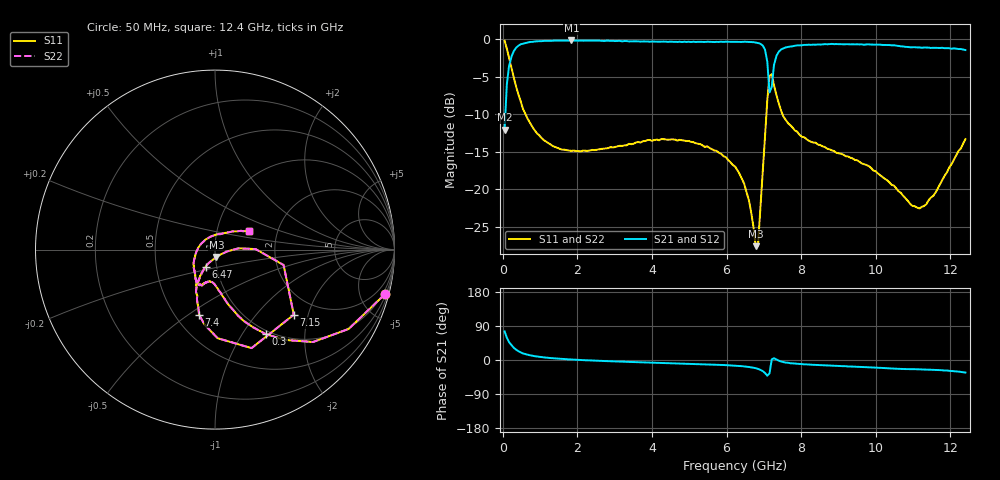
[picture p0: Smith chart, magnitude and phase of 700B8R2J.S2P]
!  American Technical Ceramics  Date:  3/13/98
!  One Norden Lane
!  Huntington Station,  NY.  11746-2102
!  Tel:  (516) 547-5700  Fax:  (516) 547-5748
!  Part Number  700B8R2J
!  Description: Porcelain, High Q, Low ESR
!  Application: Bypass, Coupling, Timing, Feedback
!  Tuning, Impedance Match, Blocking
# GHZ S DB R 50
! Freq  |S11|  S11 Ph  |S21|  S21 Ph  |S12|  S12 Ph  |S22|  S22 Ph
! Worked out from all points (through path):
!   201 points, 50 MHz to 12.4 GHz, reference 50 ohm
!   highest |S21| = -0.16 dB at 1.84 GHz (marker M1); lowest = -12.1 dB at 50 MHz (marker M2)
!   lowest |S11| = -27.6 dB at 6.78 GHz (marker M3), VSWR 1.09, Z = 50.6 - j4.16 ohm
!   |S11| at or under -10 dB: 611 MHz to 7.067 GHz (6.456 GHz wide, 168 % of centre); 7.497 GHz to end of sweep
!   |S22| runs from -27.6 to -0.2 dB; largest |S21 - S12| = 0
!   S11 on the Smith chart (normalised r, x): 50 MHz: 0.66, -7.68; 300 MHz: 0.95, -1.28; 6.47 GHz: 0.89, -0.17; 7.15 GHz: 1.51, -1.63; 7.4 GHz: 0.65, -0.55; 12.4 GHz: 1.43, +0.31
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0.05  -0.19 -14.7  -12.06 75.5  -12.06 75.5  -0.19 -14.7
0.11  -1.25 -30.7  -5.99 59.1  -5.99 59.1  -1.25 -30.7
0.3  -5.18 -58.9  -1.55 31.9  -1.55 31.9  -5.18 -58.9
0.54  -9.25 -73.7  -0.59 17.4  -0.59 17.4  -9.25 -73.7
0.91  -12.50 -83.3  -0.27 9.4  -0.27 9.4  -12.50 -83.3
1.84  -14.88 -96.7  -0.16 1.3  -0.16 1.3  -14.88 -96.7
2.15  -14.84 -99.2  -0.19 -0.2  -0.19 -0.2  -14.84 -99.2
4.19  -13.47 -113.5  -0.33 -7.7  -0.33 -7.7  -13.47 -113.5
6.23  -16.99 -119.1  -0.35 -15.0  -0.35 -15.0  -16.99 -119.1
6.47  -19.25 -118.4  -0.33 -17.1  -0.33 -17.1  -19.25 -118.4
6.78  -27.58 -79.1  -0.45 -21.7  -0.45 -21.7  -27.58 -79.1
6.84  -27.55 -38.6  -0.50 -23.4  -0.50 -23.4  -27.55 -38.6
7.03  -12.91 0.7  -1.39 -34.4  -1.39 -34.4  -12.91 0.7
7.09  -8.14 -12.7  -2.98 -41.5  -2.98 -41.5  -8.14 -12.7
7.15  -4.89 -39.6  -7.09 -35.1  -7.09 -35.1  -4.89 -39.6
7.21  -4.65 -69.7  -6.37 1.7  -6.37 1.7  -4.65 -69.7
7.27  -6.13 -88.3  -3.41 4.7  -3.41 4.7  -6.13 -88.3
7.4  -8.57 -103.8  -1.65 -1.9  -1.65 -1.9  -8.57 -103.8
8.32  -13.76 -120.2  -0.72 -12.7  -0.72 -12.7  -13.76 -120.2
10.36  -19.05 -166.5  -0.77 -22.0  -0.77 -22.0  -19.05 -166.5
11.29  -22.23 101.7  -1.10 -25.1  -1.10 -25.1  -22.23 101.7
12.4  -13.31 28.3  -1.44 -33.2  -1.44 -33.2  -13.31 28.3
